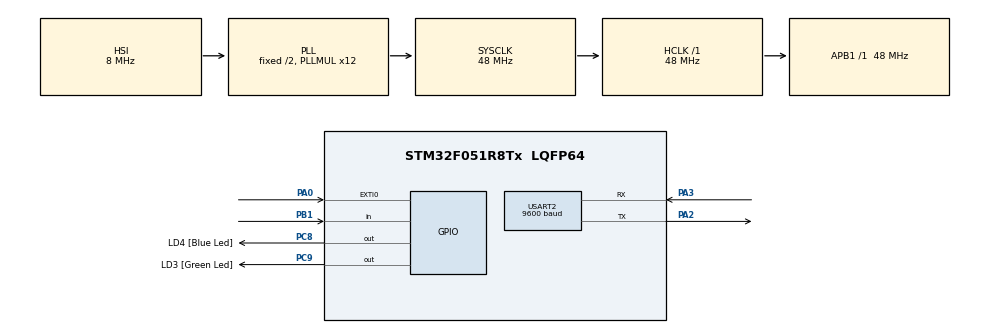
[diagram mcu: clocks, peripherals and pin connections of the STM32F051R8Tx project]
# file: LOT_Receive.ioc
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Dma.Request0=USART2_RX
Dma.Request1=USART2_TX
Dma.USART2_RX.0.Direction=DMA_PERIPH_TO_MEMORY
Dma.USART2_RX.0.Instance=DMA1_Channel5
Dma.USART2_RX.0.MemDataAlignment=DMA_MDATAALIGN_BYTE
Dma.USART2_RX.0.MemInc=DMA_MINC_ENABLE
Dma.USART2_RX.0.Mode=DMA_NORMAL
Dma.USART2_RX.0.PeriphDataAlignment=DMA_PDATAALIGN_BYTE
Dma.USART2_RX.0.PeriphInc=DMA_PINC_DISABLE
Dma.USART2_RX.0.Priority=DMA_PRIORITY_LOW
Dma.USART2_TX.1.Direction=DMA_MEMORY_TO_PERIPH
Dma.USART2_TX.1.Instance=DMA1_Channel4
Dma.USART2_TX.1.MemDataAlignment=DMA_MDATAALIGN_BYTE
Dma.USART2_TX.1.MemInc=DMA_MINC_ENABLE
Dma.USART2_TX.1.Mode=DMA_NORMAL
Dma.USART2_TX.1.PeriphDataAlignment=DMA_PDATAALIGN_BYTE
Dma.USART2_TX.1.PeriphInc=DMA_PINC_DISABLE
Dma.USART2_TX.1.Priority=DMA_PRIORITY_LOW
Mcu.Family=STM32F0
Mcu.Name=STM32F051R8Tx
Mcu.Package=LQFP64
NVIC.DMA1_Channel4_5_IRQn=true\:0\:0\:false\:false\:true\:false\:true\:true
NVIC.EXTI0_1_IRQn=true\:0\:0\:false\:false\:true\:true\:true\:true
NVIC.USART2_IRQn=true\:0\:0\:false\:false\:true\:true\:true\:true
PA0.Signal=GPXTI0
PA13.GPIO_Label=SWDIO
PA13.Mode=Serial_Wire
PA13.Signal=SYS_SWDIO
PA14.GPIO_Label=SWCLK
PA14.Mode=Serial_Wire
PA14.Signal=SYS_SWCLK
PA2.Mode=Asynchronous
PA2.Signal=USART2_TX
PA3.Mode=Asynchronous
PA3.Signal=USART2_RX
PB1.GPIO_PuPd=GPIO_PULLDOWN
PB1.Signal=GPIO_Input
PC8.GPIO_Label=LD4 [Blue Led]
PC8.Signal=GPIO_Output
PC9.GPIO_Label=LD3 [Green Led]
PC9.Signal=GPIO_Output
ProjectManager.HeapSize=0x200
ProjectManager.StackSize=0x400
ProjectManager.TargetToolchain=STM32CubeIDE
RCC.AHBFreq_Value=48000000
RCC.APB1Freq_Value=48000000
RCC.APB1TimFreq_Value=48000000
RCC.HCLKFreq_Value=48000000
RCC.PLLMUL=RCC_PLL_MUL12
RCC.SYSCLKFreq_VALUE=48000000
RCC.SYSCLKSource=RCC_SYSCLKSOURCE_PLLCLK
USART2.BaudRate=9600
USART2.VirtualMode-Asynchronous=VM_ASYNC
board=STM32F0DISCOVERY

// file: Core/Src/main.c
/* USER CODE BEGIN Header */
/**
  ******************************************************************************
  * @file           : main.c
  * @brief          : Main program body
  ******************************************************************************
  * @attention
  *
  * Copyright (c) 2022 STMicroelectronics.
  * All rights reserved.
  *
  * This software is licensed under terms that can be found in the LICENSE file
  * in the root directory of this software component.
  * If no LICENSE file comes with this software, it is provided AS-IS.
  *
  ******************************************************************************
  */
/* USER CODE END Header */
#include "main.h"

/* USER CODE BEGIN Includes */
#include <stdbool.h>
/* USER CODE END Includes */

/* USER CODE BEGIN PD */
#define PIN_IN	GPIO_PIN_1
#define PORT_IN GPIOB
#define BAUDRATE 10   //bits per second
/* USER CODE END PD */

UART_HandleTypeDef huart2;
DMA_HandleTypeDef hdma_usart2_rx;
DMA_HandleTypeDef hdma_usart2_tx;

/* USER CODE BEGIN PV */
uint32_t delayTime = 1000/BAUDRATE;
uint8_t numSamples = 0;
uint8_t buffer[50];
bool buttonFlag = false;
/* USER CODE END PV */

void SystemClock_Config(void);
static void MX_GPIO_Init(void);
static void MX_DMA_Init(void);
static void MX_USART2_UART_Init(void);
/* USER CODE BEGIN PFP */
void EXTI0_1_IRQHandler(void);
void LOT_Receive(uint8_t *buffer);
void ReceiveSample(uint8_t *buffer);
void ReceiveCheckPoint(uint8_t buffer[]);
uint32_t bitsToDec(uint8_t bits[],uint8_t length);
/* USER CODE END PFP */

int main(void)
{

  /* MCU Configuration--------------------------------------------------------*/

  /* Reset of all peripherals, Initializes the Flash interface and the Systick. */
  HAL_Init();

  /* Configure the system clock */
  SystemClock_Config();

  /* Initialize all configured peripherals */
  MX_GPIO_Init();
  MX_DMA_Init();
  MX_USART2_UART_Init();
  /* USER CODE BEGIN 2 *
  /* USER CODE END 2 */

  /* Infinite loop */
  while (1)
  {

    /* USER CODE BEGIN 3 */
	  LOT_Receive(buffer);
/*	  if (buttonFlag){
		  LOT_Receive(buffer);
		  buttonFlag = false;
	  }*/
  }
  /* USER CODE END 3 */
}

void SystemClock_Config(void)
{
  RCC_OscInitTypeDef RCC_OscInitStruct = {0};
  RCC_ClkInitTypeDef RCC_ClkInitStruct = {0};

  /** Initializes the RCC Oscillators according to the specified parameters
  * in the RCC_OscInitTypeDef structure.
  */
  RCC_OscInitStruct.OscillatorType = RCC_OSCILLATORTYPE_HSI;
  RCC_OscInitStruct.HSIState = RCC_HSI_ON;
  RCC_OscInitStruct.HSICalibrationValue = RCC_HSICALIBRATION_DEFAULT;
  RCC_OscInitStruct.PLL.PLLState = RCC_PLL_ON;
  RCC_OscInitStruct.PLL.PLLSource = RCC_PLLSOURCE_HSI;
  RCC_OscInitStruct.PLL.PLLMUL = RCC_PLL_MUL12;
  RCC_OscInitStruct.PLL.PREDIV = RCC_PREDIV_DIV1;
  if (HAL_RCC_OscConfig(&RCC_OscInitStruct) != HAL_OK)
  {
    Error_Handler();
  }

  /** Initializes the CPU, AHB and APB buses clocks
  */
  RCC_ClkInitStruct.ClockType = RCC_CLOCKTYPE_HCLK|RCC_CLOCKTYPE_SYSCLK
                              |RCC_CLOCKTYPE_PCLK1;
  RCC_ClkInitStruct.SYSCLKSource = RCC_SYSCLKSOURCE_PLLCLK;
  RCC_ClkInitStruct.AHBCLKDivider = RCC_SYSCLK_DIV1;
  RCC_ClkInitStruct.APB1CLKDivider = RCC_HCLK_DIV1;

  if (HAL_RCC_ClockConfig(&RCC_ClkInitStruct, FLASH_LATENCY_1) != HAL_OK)
  {
    Error_Handler();
  }
}

static void MX_USART2_UART_Init(void)
{

  huart2.Instance = USART2;
  huart2.Init.BaudRate = 9600;
  huart2.Init.WordLength = UART_WORDLENGTH_8B;
  huart2.Init.StopBits = UART_STOPBITS_1;
  huart2.Init.Parity = UART_PARITY_NONE;
  huart2.Init.Mode = UART_MODE_TX_RX;
  huart2.Init.HwFlowCtl = UART_HWCONTROL_NONE;
  huart2.Init.OverSampling = UART_OVERSAMPLING_16;
  huart2.Init.OneBitSampling = UART_ONE_BIT_SAMPLE_DISABLE;
  huart2.AdvancedInit.AdvFeatureInit = UART_ADVFEATURE_NO_INIT;
  if (HAL_UART_Init(&huart2) != HAL_OK)
  {
    Error_Handler();
  }

}

static void MX_DMA_Init(void)
{

  /* DMA controller clock enable */
  __HAL_RCC_DMA1_CLK_ENABLE();

  /* DMA interrupt init */
  /* DMA1_Channel4_5_IRQn interrupt configuration */
  HAL_NVIC_SetPriority(DMA1_Channel4_5_IRQn, 0, 0);
  HAL_NVIC_EnableIRQ(DMA1_Channel4_5_IRQn);

}

static void MX_GPIO_Init(void)
{
  GPIO_InitTypeDef GPIO_InitStruct = {0};

  /* GPIO Ports Clock Enable */
  __HAL_RCC_GPIOA_CLK_ENABLE();
  __HAL_RCC_GPIOB_CLK_ENABLE();
  __HAL_RCC_GPIOC_CLK_ENABLE();

  /*Configure GPIO pin Output Level */
  HAL_GPIO_WritePin(GPIOC, LD4_Pin|LD3_Pin, GPIO_PIN_RESET);

  /*Configure GPIO pin : PA0 */
  GPIO_InitStruct.Pin = GPIO_PIN_0;
  GPIO_InitStruct.Mode = GPIO_MODE_IT_RISING;
  GPIO_InitStruct.Pull = GPIO_NOPULL;
  HAL_GPIO_Init(GPIOA, &GPIO_InitStruct);

  /*Configure GPIO pin : PB1 */
  GPIO_InitStruct.Pin = GPIO_PIN_1;
  GPIO_InitStruct.Mode = GPIO_MODE_INPUT;
  GPIO_InitStruct.Pull = GPIO_PULLDOWN;
  HAL_GPIO_Init(GPIOB, &GPIO_InitStruct);

  /*Configure GPIO pins : LD4_Pin LD3_Pin */
  GPIO_InitStruct.Pin = LD4_Pin|LD3_Pin;
  GPIO_InitStruct.Mode = GPIO_MODE_OUTPUT_PP;
  GPIO_InitStruct.Pull = GPIO_NOPULL;
  GPIO_InitStruct.Speed = GPIO_SPEED_FREQ_LOW;
  HAL_GPIO_Init(GPIOC, &GPIO_InitStruct);

  /* EXTI interrupt init*/
  HAL_NVIC_SetPriority(EXTI0_1_IRQn, 0, 0);
  HAL_NVIC_EnableIRQ(EXTI0_1_IRQn);

}

/* USER CODE BEGIN 4 */

void EXTI0_1_IRQHandler(void)
{
	uint32_t current = HAL_GetTick();
	uint32_t prev = HAL_GetTick();
	if ((current-prev) && GPIO_PIN_0 == 1){
		buttonFlag = true;
		prev = current;
	}
	HAL_GPIO_EXTI_IRQHandler(GPIO_PIN_0); // Clear interrupt flags
}

void LOT_Receive(uint8_t *buffer){
	GPIO_PinState firstBit = GPIO_PIN_RESET;
	GPIO_PinState secondBit = GPIO_PIN_RESET;
	uint32_t currentTime =0;
	uint32_t startTime =0;
	startTime = HAL_GetTick();

	firstBit = HAL_GPIO_ReadPin(PORT_IN, PIN_IN);

	//wait for first bit
	//timeout of 50s
	while(!firstBit){
		firstBit = HAL_GPIO_ReadPin(PORT_IN , PIN_IN);
		currentTime = HAL_GetTick();
		if(currentTime-startTime > 50000){
			return;
		}
	}
	HAL_Delay(delayTime*1.5);
	//read second bit
	secondBit = HAL_GPIO_ReadPin(PORT_IN, PIN_IN);
	HAL_Delay(delayTime);

	//if message is checkpoint
	if (firstBit && secondBit){
		ReceiveCheckPoint(buffer);
	}
	//if message is sample
	else if(firstBit && !secondBit){
		ReceiveSample(buffer);
	}

}

void ReceiveCheckPoint(uint8_t *buffer){
	GPIO_PinState startBit = HAL_GPIO_ReadPin(PORT_IN, PIN_IN);
	uint8_t bitArray[8] = {0};

	while(!startBit){
		startBit = HAL_GPIO_ReadPin(PORT_IN, PIN_IN);
	}

	HAL_Delay(delayTime*1.1);
	for (uint8_t i = 0; i< 8;i++){
		bitArray[i] = HAL_GPIO_ReadPin(PORT_IN, PIN_IN);
		buffer[i] = HAL_GPIO_ReadPin(PORT_IN, PIN_IN);
		HAL_Delay(delayTime);
	}

	uint32_t val = bitsToDec(bitArray,8);

	if (val == numSamples){
		HAL_UART_Transmit(&huart2, "No missing samples \n", 20, 1000);
	}else
	{
		numSamples = val;
		HAL_UART_Transmit(&huart2, "Missing Samples \n", 20, 1000);
	}

}

void ReceiveSample(uint8_t *buffer){
	uint32_t currentTime =0;
	uint32_t startTime =0;
	uint8_t bitArray[32] = {0};
	GPIO_PinState startBit = HAL_GPIO_ReadPin(PORT_IN, PIN_IN);  //read start bit
	GPIO_PinState tempBit = GPIO_PIN_RESET;
	startTime = HAL_GetTick();
	uint8_t countPackets = 0;

	//Timeout 50s
	//loop until startBit is 1
	while(!startBit){
		//increment timer
		currentTime = HAL_GetTick();
		if (currentTime -startTime >50000){
			return;
		}
		startBit = HAL_GPIO_ReadPin(PORT_IN , PIN_IN);
	}
	//delay*1.5 so polling is at middle of wave
	HAL_Delay(delayTime*1);

	//read data packets
	while (startBit){
		for (uint8_t i = (countPackets*8);i<(countPackets*8+8);i++){
			tempBit =  HAL_GPIO_ReadPin(PORT_IN, PIN_IN);
			bitArray[i] = tempBit;
			buffer[i] = tempBit;
			HAL_Delay(delayTime);
		}
		//read start/stop bit
		startBit = HAL_GPIO_ReadPin(PORT_IN, PIN_IN);
		countPackets++;
		HAL_Delay(delayTime);
	}
	uint32_t val = bitsToDec(bitArray,32);
	numSamples++;
	//HAL_UART_Transmit(&huart2, bitArray,32, 1000);
}

uint32_t bitsToDec(uint8_t bits[],uint8_t length){
	uint32_t multiplier = 1;
	uint32_t value = 0;

	for(int i =0;i<length;i++){
		value += (bits[i] * multiplier);
		multiplier *= 2;
	}
	return value;
}

/* USER CODE END 4 */

void Error_Handler(void)
{
  __disable_irq();
  while (1)
  {
  }
}
